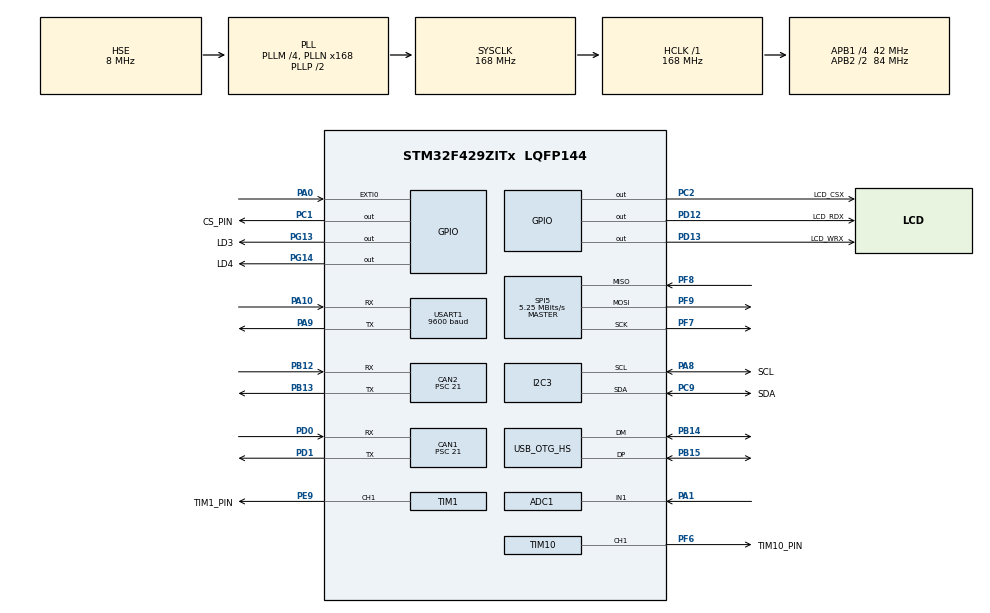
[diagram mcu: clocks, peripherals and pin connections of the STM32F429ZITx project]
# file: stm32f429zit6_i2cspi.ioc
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ADC1.Channel-10\#ChannelRegularConversion=ADC_CHANNEL_1
ADC1.NbrOfConversionFlag=1
ADC1.Rank-10\#ChannelRegularConversion=1
ADC1.SamplingTime-10\#ChannelRegularConversion=ADC_SAMPLETIME_3CYCLES
ADC1.master=1
CAN1.BS1=CAN_BS1_14TQ
CAN1.BS2=CAN_BS2_5TQ
CAN1.CalculateBaudRate=100000
CAN1.CalculateTimeBit=10000
CAN1.CalculateTimeQuantum=500.0
CAN1.Mode=CAN_MODE_NORMAL
CAN1.Prescaler=21
CAN2.BS1=CAN_BS1_14TQ
CAN2.BS2=CAN_BS2_5TQ
CAN2.CalculateBaudRate=100000
CAN2.CalculateTimeBit=10000
CAN2.CalculateTimeQuantum=500.0
CAN2.Prescaler=21
FREERTOS.BinarySemaphores01=hBinarySem01,Dynamic,NULL
FREERTOS.Tasks01=defaultTask,0,512,StartDefaultTask,Default,NULL,Dynamic,NULL,NULL;myTask02,0,128,StartTask02,Default,NULL,Dynamic,NULL,NULL;myTask03,-1,128,StartTask03,Default,NULL,Dynamic,NULL,NULL;hSemTask,0,128,SemaphoreTask,Default,NULL,Dynamic,NULL,NULL;SemaphoTask2,0,128,SemaTask,Default,NULL,Dynamic,NULL,NULL
FREERTOS.configUSE_NEWLIB_REENTRANT=1
I2C3.I2C_Mode=I2C_Standard
Mcu.Family=STM32F4
Mcu.Name=STM32F429ZITx
Mcu.Package=LQFP144
NVIC.CAN1_RX0_IRQn=true\:5\:0\:false\:false\:true\:true\:true\:true\:true
NVIC.CAN2_RX0_IRQn=true\:5\:0\:false\:false\:true\:true\:true\:true\:true
NVIC.CAN2_RX1_IRQn=true\:5\:0\:false\:false\:true\:true\:true\:true\:true
NVIC.EXTI0_IRQn=true\:5\:0\:false\:false\:true\:true\:true\:true\:true
NVIC.OTG_HS_IRQn=true\:5\:0\:false\:false\:true\:true\:false\:true\:true
NVIC.PriorityGroup=NVIC_PRIORITYGROUP_4
NVIC.SPI5_IRQn=true\:7\:0\:true\:false\:true\:true\:true\:true\:true
NVIC.TIM1_UP_TIM10_IRQn=true\:6\:0\:true\:false\:true\:true\:true\:true\:true
NVIC.TIM6_DAC_IRQn=true\:15\:0\:false\:false\:true\:false\:false\:true\:true
NVIC.TimeBase=TIM6_DAC_IRQn
NVIC.TimeBaseIP=TIM6
PA0/WKUP.Signal=GPXTI0
PA1.Signal=ADCx_IN1
PA10.Mode=Asynchronous
PA10.Signal=USART1_RX
PA13.Mode=Serial_Wire
PA13.Signal=SYS_JTMS-SWDIO
PA14.Mode=Serial_Wire
PA14.Signal=SYS_JTCK-SWCLK
PA15.Signal=GPXTI15
PA8.GPIO_Label=SCL
PA8.Mode=I2C
PA8.Signal=I2C3_SCL
PA9.Mode=Asynchronous
PA9.Signal=USART1_TX
PB12.Mode=CAN_Activate
PB12.Signal=CAN2_RX
PB13.Mode=CAN_Activate
PB13.Signal=CAN2_TX
PB14.Mode=Device_Only_FS
PB14.Signal=USB_OTG_HS_DM
PB15.Mode=Device_Only_FS
PB15.Signal=USB_OTG_HS_DP
PC1.GPIO_Label=CS_PIN
PC1.GPIO_ModeDefaultOutputPP=GPIO_MODE_OUTPUT_PP
PC1.GPIO_Speed=GPIO_SPEED_FREQ_VERY_HIGH
PC1.PinState=GPIO_PIN_SET
PC1.Signal=GPIO_Output
PC2.GPIO_Label=LCD_CSX
PC2.GPIO_Speed=GPIO_SPEED_FREQ_VERY_HIGH
PC2.PinState=GPIO_PIN_SET
PC2.Signal=GPIO_Output
PC9.GPIO_Label=SDA
PC9.Mode=I2C
PC9.Signal=I2C3_SDA
PD0.Mode=CAN_Activate
PD0.Signal=CAN1_RX
PD1.Mode=CAN_Activate
PD1.Signal=CAN1_TX
PD12.GPIO_Label=LCD_RDX
PD12.GPIO_Speed=GPIO_SPEED_FREQ_VERY_HIGH
PD12.PinState=GPIO_PIN_SET
PD12.Signal=GPIO_Output
PD13.GPIO_Label=LCD_WRX
PD13.GPIO_Speed=GPIO_SPEED_FREQ_VERY_HIGH
PD13.PinState=GPIO_PIN_SET
PD13.Signal=GPIO_Output
PE9.GPIO_Label=TIM1_PIN
PE9.Signal=S_TIM1_CH1
PF6.GPIO_Label=TIM10_PIN
PF6.Signal=S_TIM10_CH1
PF7.Mode=Full_Duplex_Master
PF7.Signal=SPI5_SCK
PF8.Mode=Full_Duplex_Master
PF8.Signal=SPI5_MISO
PF9.Mode=Full_Duplex_Master
PF9.Signal=SPI5_MOSI
PG13.GPIO_Label=LD3
PG13.Signal=GPIO_Output
PG14.GPIO_Label=LD4
PG14.Signal=GPIO_Output
PH0/OSC_IN.Mode=HSE-External-Oscillator
PH0/OSC_IN.Signal=RCC_OSC_IN
PH1/OSC_OUT.Mode=HSE-External-Oscillator
PH1/OSC_OUT.Signal=RCC_OSC_OUT
ProjectManager.HeapSize=0x200
ProjectManager.StackSize=0x400
ProjectManager.TargetToolchain=STM32CubeIDE
RCC.48MHZClocksFreq_Value=48000000
RCC.AHBFreq_Value=168000000
RCC.APB1CLKDivider=RCC_HCLK_DIV4
RCC.APB1Freq_Value=42000000
RCC.APB1TimFreq_Value=84000000
RCC.APB2CLKDivider=RCC_HCLK_DIV2
RCC.APB2Freq_Value=84000000
RCC.APB2TimFreq_Value=168000000
RCC.CortexFreq_Value=168000000
RCC.HCLKFreq_Value=168000000
RCC.HSE_VALUE=8000000
RCC.HSI_VALUE=16000000
RCC.LSE_VALUE=32768
RCC.PLLM=4
RCC.PLLN=168
RCC.PLLQ=7
RCC.PLLSAIN=60
RCC.SYSCLKFreq_VALUE=168000000
RCC.SYSCLKSource=RCC_SYSCLKSOURCE_PLLCLK
RCC.VCOOutputFreq_Value=336000000
SH.ADCx_IN1.0=ADC1_IN1,IN1
SH.S_TIM10_CH1.0=TIM10_CH1,PWM Generation1 CH1
SH.S_TIM1_CH1.0=TIM1_CH1,PWM Generation1 CH1
SPI5.BaudRatePrescaler=SPI_BAUDRATEPRESCALER_16
SPI5.CLKPhase=SPI_PHASE_2EDGE
SPI5.CLKPolarity=SPI_POLARITY_HIGH
SPI5.CalculateBaudRate=5.25 MBits/s
SPI5.DataSize=SPI_DATASIZE_8BIT
SPI5.Direction=SPI_DIRECTION_2LINES
SPI5.Mode=SPI_MODE_MASTER
SPI5.VirtualType=VM_MASTER
TIM1.Channel-PWM\ Generation1\ CH1=TIM_CHANNEL_1
TIM1.Period=2000
TIM1.Prescaler=41.99-1
TIM1.Pulse-PWM\ Generation1\ CH1=41999
TIM10.Channel=TIM_CHANNEL_1
TIM10.Period=2000
TIM10.Prescaler=41.99-1
USART1.BaudRate=9600
USART1.VirtualMode=VM_ASYNC
USB_DEVICE.CLASS_NAME_HS=CDC
USB_DEVICE.VirtualMode-CDC_HS=Cdc
USB_DEVICE.VirtualModeHS=Cdc_HS
USB_OTG_HS.VirtualMode-Device_Only_FS=Device_Only_FS
VP_FREERTOS_VS_CMSIS_V1.Mode=CMSIS_V1
VP_SYS_VS_tim6.Mode=TIM6
VP_TIM10_VS_ClockSourceINT.Mode=Enable_Timer
VP_TIM7_VS_ClockSourceINT.Mode=Enable_Timer
VP_USB_DEVICE_VS_USB_DEVICE_CDC_HS.Mode=CDC_HS
board=custom

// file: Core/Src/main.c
/* USER CODE BEGIN Header */
/**
  ******************************************************************************
  * @file           : main.c
  * @brief          : Main program body
  ******************************************************************************
  * @attention
  *
  * Copyright (c) 2023 STMicroelectronics.
  * All rights reserved.
  *
  * This software is licensed under terms that can be found in the LICENSE file
  * in the root directory of this software component.
  * If no LICENSE file comes with this software, it is provided AS-IS.
  *
  ******************************************************************************
  */
/* USER CODE END Header */
#include "main.h"
#include "cmsis_os.h"
#include "adc.h"
#include "can.h"
#include "i2c.h"
#include "spi.h"
#include "tim.h"
#include "usart.h"
#include "usb_device.h"
#include "gpio.h"

/* USER CODE BEGIN Includes */
#include "stdio.h"
#include "string.h"
#include "stdlib.h"
#include "l3gd20.h"
#include "st_logo1.h"
#include "st_logo2.h"
#include "stmpe811.h"
#include "timer_pwm.h"
#include "usbd_cdc_if.h"
/* USER CODE END Includes */

void SystemClock_Config(void);
void MX_FREERTOS_Init(void);
/* USER CODE BEGIN PFP */
void HAL_TIM_PWM_PulseFinishedCallback(TIM_HandleTypeDef *htim);
void USB_otg_HS_transmit(void);
extern osSemaphoreId hBinarySem01Handle;

uint32_t user_tick=10;

uint32_t millis()
{
	return HAL_GetTick();
}

uint8_t flag=0;
/* USER CODE END PFP */

int main(void)
{

  /* MCU Configuration--------------------------------------------------------*/

  /* Reset of all peripherals, Initializes the Flash interface and the Systick. */
  HAL_Init();

  /* Configure the system clock */
  SystemClock_Config();

  /* Initialize all configured peripherals */
  MX_GPIO_Init();
  MX_USART1_UART_Init();
  MX_SPI5_Init();
  MX_I2C3_Init();
  MX_TIM1_Init();
  MX_TIM10_Init();
  MX_TIM7_Init();
  MX_ADC1_Init();
  MX_CAN1_Init();
  MX_CAN2_Init();
  /* USER CODE BEGIN 2 */
  l3gd20Init();
  stmpe811_init();
  //HAL_CAN_ActivateNotification(&hcan1, CAN_IT_RX_FIFO0_MSG_PENDING); // CAN -> Bare Metal cycle No use
  //HAL_CAN_Start(&hcan1);
  //HAL_TIM_Base_Start_IT(&htim1); // TIM -> disable (Cause RTOS)

  /* USER CODE END 2 */

  /* Call init function for freertos objects (in freertos.c) */
  MX_FREERTOS_Init();

  /* Start scheduler */
  osKernelStart();
  /* We should never get here as control is now taken by the scheduler */
  /* Infinite loop */
  /* USER CODE BEGIN WHILE */
  while (1)
  {
     // pwm_DMA(); // Bare Metal cycle No use

//      if(millis() - user_tick > 1000)
//      {
//  	    user_tick = millis();
//  	    if(flag ==0)
//  	    can_test();
//  	    else
//  	    {
//  	    	flag = 0;
//  	  	    can_rxrx();
//  	    }
//
//  	    stmpe811_Test();    		// Touch sensor test
//  	    pwm_duty_control();
//  	    USB_otg_HS_transmit();
//  	    l3gd20_Start();    		// Gyro sensor
//  		ADC_Test();
//      }

    /* USER CODE END WHILE */

  }
}

void SystemClock_Config(void)
{
  RCC_OscInitTypeDef RCC_OscInitStruct = {0};
  RCC_ClkInitTypeDef RCC_ClkInitStruct = {0};

  /** Configure the main internal regulator output voltage
  */
  __HAL_RCC_PWR_CLK_ENABLE();
  __HAL_PWR_VOLTAGESCALING_CONFIG(PWR_REGULATOR_VOLTAGE_SCALE1);

  /** Initializes the RCC Oscillators according to the specified parameters
  * in the RCC_OscInitTypeDef structure.
  */
  RCC_OscInitStruct.OscillatorType = RCC_OSCILLATORTYPE_HSE;
  RCC_OscInitStruct.HSEState = RCC_HSE_ON;
  RCC_OscInitStruct.PLL.PLLState = RCC_PLL_ON;
  RCC_OscInitStruct.PLL.PLLSource = RCC_PLLSOURCE_HSE;
  RCC_OscInitStruct.PLL.PLLM = 4;
  RCC_OscInitStruct.PLL.PLLN = 168;
  RCC_OscInitStruct.PLL.PLLP = RCC_PLLP_DIV2;
  RCC_OscInitStruct.PLL.PLLQ = 7;
  if (HAL_RCC_OscConfig(&RCC_OscInitStruct) != HAL_OK)
  {
    Error_Handler();
  }

  /** Initializes the CPU, AHB and APB buses clocks
  */
  RCC_ClkInitStruct.ClockType = RCC_CLOCKTYPE_HCLK|RCC_CLOCKTYPE_SYSCLK
                              |RCC_CLOCKTYPE_PCLK1|RCC_CLOCKTYPE_PCLK2;
  RCC_ClkInitStruct.SYSCLKSource = RCC_SYSCLKSOURCE_PLLCLK;
  RCC_ClkInitStruct.AHBCLKDivider = RCC_SYSCLK_DIV1;
  RCC_ClkInitStruct.APB1CLKDivider = RCC_HCLK_DIV4;
  RCC_ClkInitStruct.APB2CLKDivider = RCC_HCLK_DIV2;

  if (HAL_RCC_ClockConfig(&RCC_ClkInitStruct, FLASH_LATENCY_5) != HAL_OK)
  {
    Error_Handler();
  }
}

/* USER CODE BEGIN 4 */
void HAL_GPIO_EXTI_Callback(uint16_t GPIO_Pin)
{
	if(GPIO_Pin == GPIO_PIN_0)
	{
		osSemaphoreRelease(hBinarySem01Handle);
	}
}

void HAL_CAN_RxFifo0MsgPendingCallback(CAN_HandleTypeDef *hcan)
{
 flag = 1;
}
//void HAL_TIM_PeriodElapsedCallback(TIM_HandleTypeDef *htim)
//{
//	uint8_t flag;
//
//	flag++;
//	uint8_t ff[30]={0};
//	sprintf((char *)ff,"\n Interrupt count : %d \r\n",flag);
//	HAL_UART_Transmit(&huart1, ff, strlen(ff), 0xFF);
//
//	if(flag==0xFF)
//	{
//      flag=0;
//      HAL_TIM_Base_Stop_IT(&htim1);
//	}
//}
/* USER CODE END 4 */

void HAL_TIM_PeriodElapsedCallback(TIM_HandleTypeDef *htim)
{
  /* USER CODE BEGIN Callback 0 */
  if (htim->Instance == TIM1)
  {
		uint8_t flag;

		flag++;
		uint8_t ff[30]={0};
		sprintf((char *)ff,"\n Interrupt count : %d \r\n",flag);
		HAL_UART_Transmit(&huart1, ff, strlen(ff), 0xFF);

		if(flag==0xFF)
		{
	      flag=0;
	      HAL_TIM_Base_Stop_IT(&htim1);
		}
  }
  /* USER CODE END Callback 0 */
  if (htim->Instance == TIM6) {
    HAL_IncTick();
  }
}

void Error_Handler(void)
{
  __disable_irq();
  while (1)
  {
  }
}

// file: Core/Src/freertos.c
/* USER CODE BEGIN Header */
/**
  ******************************************************************************
  * File Name          : freertos.c
  * Description        : Code for freertos applications
  ******************************************************************************
  * @attention
  *
  * Copyright (c) 2023 STMicroelectronics.
  * All rights reserved.
  *
  * This software is licensed under terms that can be found in the LICENSE file
  * in the root directory of this software component.
  * If no LICENSE file comes with this software, it is provided AS-IS.
  *
  ******************************************************************************
  */
/* USER CODE END Header */

#include "FreeRTOS.h"
#include "task.h"
#include "main.h"
#include "cmsis_os.h"

/* USER CODE BEGIN Includes */
#include "stmpe811.h"
#include "l3gd20.h"
#include "timer_pwm.h"
#include "adc.h"
/* USER CODE END Includes */

osThreadId defaultTaskHandle;
osThreadId myTask02Handle;
osThreadId myTask03Handle;
osThreadId hSemTaskHandle;
osThreadId SemaphoTask2Handle;
osSemaphoreId hBinarySem01Handle;

/* USER CODE BEGIN FunctionPrototypes */
extern UART_HandleTypeDef huart1;
extern TIM_HandleTypeDef htim1;
/* USER CODE END FunctionPrototypes */

void StartDefaultTask(void const * argument);
void StartTask02(void const * argument);
void StartTask03(void const * argument);
void SemaphoreTask(void const * argument);
void SemaTask(void const * argument);

extern void MX_USB_DEVICE_Init(void);
void MX_FREERTOS_Init(void); /* (MISRA C 2004 rule 8.1) */

/* GetIdleTaskMemory prototype (linked to static allocation support) */
void vApplicationGetIdleTaskMemory( StaticTask_t **ppxIdleTaskTCBBuffer, StackType_t **ppxIdleTaskStackBuffer, uint32_t *pulIdleTaskStackSize );

/* USER CODE BEGIN GET_IDLE_TASK_MEMORY */
static StaticTask_t xIdleTaskTCBBuffer;
static StackType_t xIdleStack[configMINIMAL_STACK_SIZE];

void vApplicationGetIdleTaskMemory( StaticTask_t **ppxIdleTaskTCBBuffer, StackType_t **ppxIdleTaskStackBuffer, uint32_t *pulIdleTaskStackSize )
{
  *ppxIdleTaskTCBBuffer = &xIdleTaskTCBBuffer;
  *ppxIdleTaskStackBuffer = &xIdleStack[0];
  *pulIdleTaskStackSize = configMINIMAL_STACK_SIZE;
  /* place for user code */
}
/* USER CODE END GET_IDLE_TASK_MEMORY */

void MX_FREERTOS_Init(void) {

  /* Create the semaphores(s) */
  /* definition and creation of hBinarySem01 */
  osSemaphoreDef(hBinarySem01);
  hBinarySem01Handle = osSemaphoreCreate(osSemaphore(hBinarySem01), 1);

  /* Create the thread(s) */
  /* definition and creation of defaultTask */
  osThreadDef(defaultTask, StartDefaultTask, osPriorityNormal, 0, 512);
  defaultTaskHandle = osThreadCreate(osThread(defaultTask), NULL);

  /* definition and creation of myTask02 */
  osThreadDef(myTask02, StartTask02, osPriorityNormal, 0, 128);
  myTask02Handle = osThreadCreate(osThread(myTask02), NULL);

  /* definition and creation of myTask03 */
  osThreadDef(myTask03, StartTask03, osPriorityBelowNormal, 0, 128);
  myTask03Handle = osThreadCreate(osThread(myTask03), NULL);

  /* definition and creation of hSemTask */
  osThreadDef(hSemTask, SemaphoreTask, osPriorityNormal, 0, 128);
  hSemTaskHandle = osThreadCreate(osThread(hSemTask), NULL);

  /* definition and creation of SemaphoTask2 */
  osThreadDef(SemaphoTask2, SemaTask, osPriorityNormal, 0, 128);
  SemaphoTask2Handle = osThreadCreate(osThread(SemaphoTask2), NULL);

}

void StartDefaultTask(void const * argument)
{
  /* init code for USB_DEVICE */
  MX_USB_DEVICE_Init();
  /* USER CODE BEGIN StartDefaultTask */
  /* Infinite loop */
  for(;;)
  {
    ADC_Test();
    can_test();
    osDelay(1000);
  }
  /* USER CODE END StartDefaultTask */
}

void StartTask02(void const * argument)
{
  /* USER CODE BEGIN StartTask02 */
  /* Infinite loop */
  for(;;)
  {
	l3gd20_Start();
    //HAL_TIM_Base_Start_IT(&htim1);
    osDelay(1500);
    //osThreadTerminate(myTask02Handle);

  }
  /* USER CODE END StartTask02 */
}

void StartTask03(void const * argument)
{
  /* USER CODE BEGIN StartTask03 */
  /* Infinite loop */
  for(;;)
  {
	pwm_duty_control();
    osDelay(200);
  }
  /* USER CODE END StartTask03 */
}

void SemaphoreTask(void const * argument)
{
  /* USER CODE BEGIN SemaphoreTask */
  /* Infinite loop */
  for(;;)
  {
	stmpe811_Test();
    osDelay(2500);
  }
  /* USER CODE END SemaphoreTask */
}

void SemaTask(void const * argument)
{
  /* USER CODE BEGIN SemaTask */
  /* Infinite loop */
  for(;;)
  {
	if(hBinarySem01Handle != NULL)
	{
		if(osSemaphoreWait(hBinarySem01Handle, 0) == osOK)
				  {
					  HAL_GPIO_WritePin(GPIOG, LD3_Pin, GPIO_PIN_SET);
					  HAL_GPIO_WritePin(GPIOG, LD4_Pin, GPIO_PIN_SET);
					  osDelay(100);
					  HAL_GPIO_WritePin(GPIOG, LD3_Pin, GPIO_PIN_RESET);
					  HAL_GPIO_WritePin(GPIOG, LD4_Pin, GPIO_PIN_RESET);
				  }
	}
    osDelay(1);
  }
  /* USER CODE END SemaTask */
}
